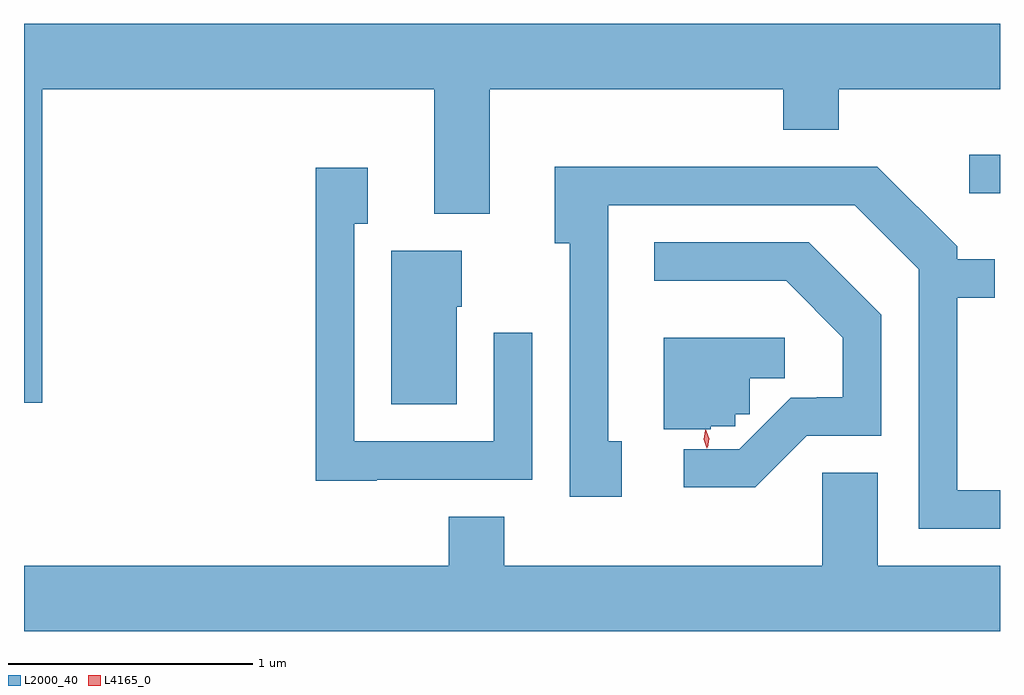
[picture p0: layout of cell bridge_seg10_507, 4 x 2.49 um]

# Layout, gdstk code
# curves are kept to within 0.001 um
import gdstk
lib = gdstk.Library(unit=1e-6, precision=1e-09)
def R(c, l, rs):  # rectangles x0, y0, x1, y1
    for r in rs: c.add(gdstk.rectangle(r[:2], r[2:], *l))
def P(c, l, *ps):  # polygons
    for p in ps: c.add(gdstk.Polygon(p, *l))
L2000_40 = (2000, 40)
L4165_0 = (4165, 0)

bridge_seg10_507 = lib.new_cell('bridge_seg10_507')
R(bridge_seg10_507, L2000_40, [(832.173,2193.411,832.3,2193.569)])
P(bridge_seg10_507, L2000_40, [(828.374,2193.836),(829.981,2193.836),(829.981,2193.326),(830.209,2193.326),(830.209,2193.836),(831.411,2193.836),(831.411,2193.671),(831.639,2193.671),(831.639,2193.836),(832.3,2193.836),(832.3,2194.104),(828.3,2194.104),(828.3,2192.551),(828.374,2192.551)],
  [(832.3,2192.194),(832.124,2192.194),(832.124,2192.981),(832.278,2192.981),(832.278,2193.139),(832.124,2193.139),(832.124,2193.192),(831.797,2193.519),(830.476,2193.519),(830.476,2193.206),(830.536,2193.206),(830.536,2192.166),(830.749,2192.166),(830.749,2192.394),(830.694,2192.394),(830.694,2193.361),(831.704,2193.361),(831.966,2193.099),(831.966,2192.036),(832.3,2192.036)],
  [(829.745,2192.236),(830.384,2192.236),(830.384,2192.838),(830.226,2192.838),(830.226,2192.394),(829.654,2192.394),(829.654,2193.286),(829.709,2193.286),(829.709,2193.514),(829.496,2193.514),(829.496,2192.231),(829.745,2192.231)],
  [(831.507,2192.416),(831.814,2192.416),(831.814,2192.912),(831.517,2193.209),(830.883,2193.209),(830.883,2193.051),(831.424,2193.051),(831.656,2192.819),(831.656,2192.574),(831.443,2192.573),(831.232,2192.362),(831.003,2192.362),(831.003,2192.206),(831.297,2192.206)],
  [(830.074,2192.946),(830.094,2192.946),(830.094,2193.174),(829.806,2193.174),(829.806,2192.546),(830.074,2192.546)],
  [(831.115,2192.455),(831.215,2192.455),(831.215,2192.505),(831.275,2192.505),(831.275,2192.652),(831.418,2192.652),(831.418,2192.819),(830.921,2192.819),(830.921,2192.443),(831.115,2192.443)],
  [(832.3,2191.884),(831.799,2191.884),(831.799,2192.264),(831.571,2192.264),(831.571,2191.884),(830.269,2191.884),(830.269,2192.084),(830.041,2192.084),(830.041,2191.884),(828.3,2191.884),(828.3,2191.616),(832.3,2191.616)])
P(bridge_seg10_507, L4165_0, [(831.098,2192.365),(831.086,2192.402),(831.093,2192.439),(831.093,2192.44),(831.094,2192.439),(831.106,2192.403),(831.099,2192.365),(831.099,2192.365)],
  [(831.102,2192.368),(831.102,2192.368),(831.089,2192.402),(831.095,2192.437),(831.096,2192.438),(831.096,2192.437),(831.109,2192.404),(831.103,2192.368)])

lib.write_gds('bridge_seg10_507.gds')
